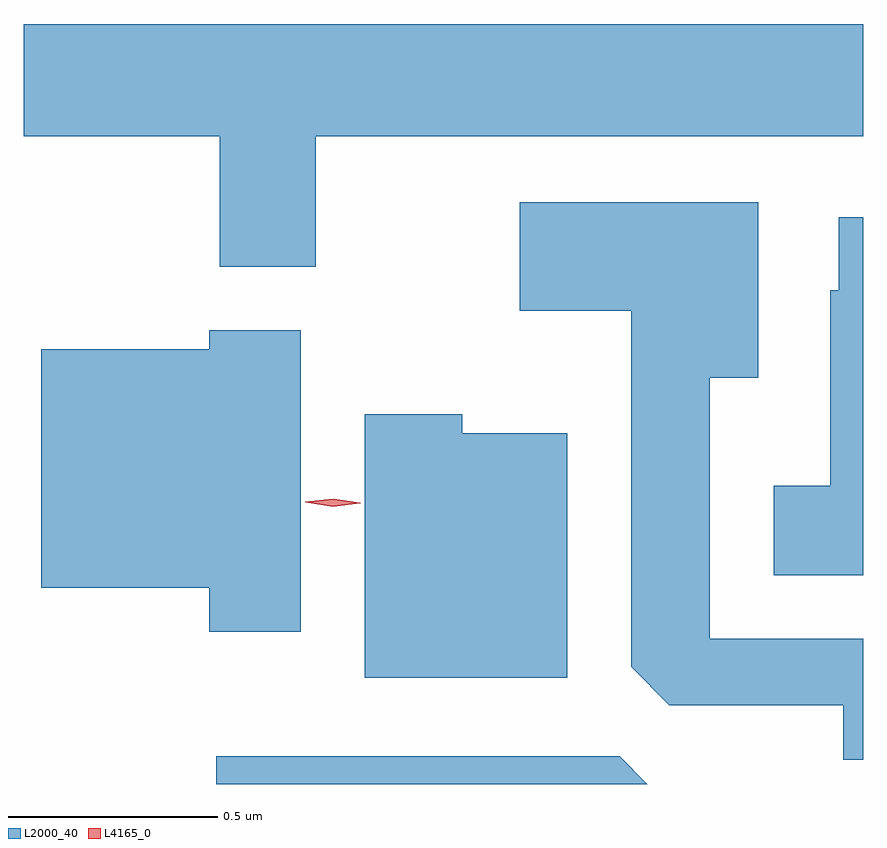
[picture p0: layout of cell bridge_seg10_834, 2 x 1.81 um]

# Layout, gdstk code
import gdstk
lib = gdstk.Library(unit=1e-6, precision=1e-09)
def P(c, l, *ps):  # polygons
    for p in ps: c.add(gdstk.Polygon(p, *l))
L2000_40 = (2000, 40)
L4165_0 = (4165, 0)

bridge_seg10_834 = lib.new_cell('bridge_seg10_834')
P(bridge_seg10_834, L2000_40, [(435.374,2096.156),(435.841,2096.156),(435.841,2095.846),(436.069,2095.846),(436.069,2096.156),(437.374,2096.156),(437.374,2096.424),(435.374,2096.424)],
  [(437.374,2094.959),(437.009,2094.959),(437.009,2095.581),(437.124,2095.581),(437.124,2095.999),(436.556,2095.999),(436.556,2095.741),(436.821,2095.741),(436.821,2094.892),(436.912,2094.801),(437.326,2094.801),(437.326,2094.671),(437.374,2094.671)],
  [(437.374,2095.964),(437.316,2095.964),(437.316,2095.789),(437.296,2095.789),(437.296,2095.324),(437.161,2095.324),(437.161,2095.111),(437.374,2095.111)],
  [(436.034,2095.694),(435.816,2095.694),(435.816,2095.649),(435.416,2095.649),(435.416,2095.081),(435.816,2095.081),(435.816,2094.976),(436.034,2094.976)],
  [(436.669,2095.449),(436.419,2095.449),(436.419,2095.494),(436.186,2095.494),(436.186,2094.866),(436.669,2094.866)],
  [(436.794,2094.679),(435.833,2094.679),(435.833,2094.613),(436.86,2094.613)])
P(bridge_seg10_834, L4165_0, [(436.11,2095.274),(436.044,2095.284),(436.044,2095.284),(436.044,2095.285),(436.111,2095.293),(436.176,2095.283),(436.177,2095.282),(436.176,2095.282)])

lib.write_gds('bridge_seg10_834.gds')
